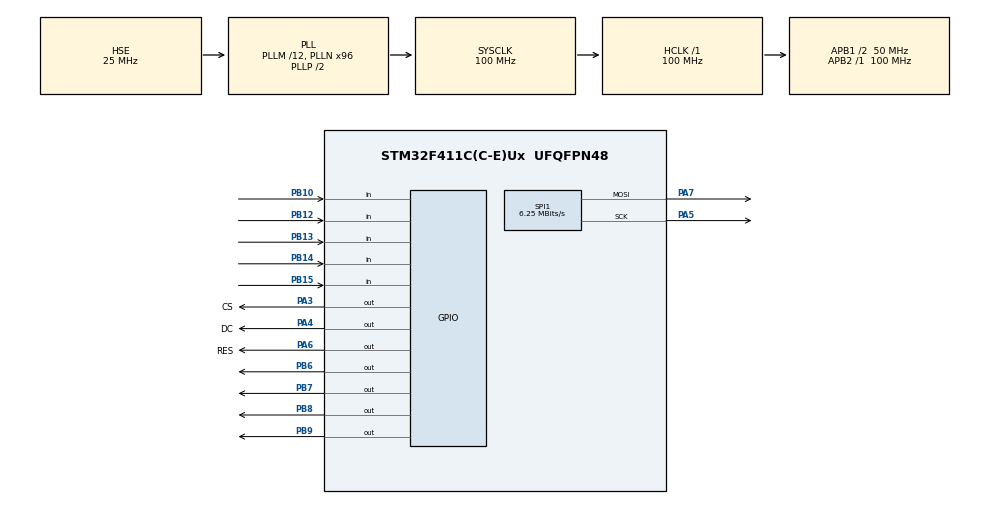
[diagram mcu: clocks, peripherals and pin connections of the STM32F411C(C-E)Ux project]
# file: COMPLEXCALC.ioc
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Mcu.Family=STM32F4
Mcu.Name=STM32F411C(C-E)Ux
Mcu.Package=UFQFPN48
NVIC.PriorityGroup=NVIC_PRIORITYGROUP_4
PA3.GPIO_Label=CS
PA3.GPIO_PuPd=GPIO_NOPULL
PA3.GPIO_Speed=GPIO_SPEED_FREQ_VERY_HIGH
PA3.Signal=GPIO_Output
PA4.GPIO_Label=DC
PA4.GPIO_PuPd=GPIO_NOPULL
PA4.GPIO_Speed=GPIO_SPEED_FREQ_VERY_HIGH
PA4.Signal=GPIO_Output
PA5.Mode=TX_Only_Simplex_Unidirect_Master
PA5.Signal=SPI1_SCK
PA6.GPIO_Label=RES
PA6.GPIO_Speed=GPIO_SPEED_FREQ_VERY_HIGH
PA6.Signal=GPIO_Output
PA7.Mode=TX_Only_Simplex_Unidirect_Master
PA7.Signal=SPI1_MOSI
PB10.GPIO_PuPd=GPIO_PULLUP
PB10.Signal=GPIO_Input
PB12.GPIO_PuPd=GPIO_PULLUP
PB12.Signal=GPIO_Input
PB13.GPIO_PuPd=GPIO_PULLUP
PB13.Signal=GPIO_Input
PB14.GPIO_PuPd=GPIO_PULLUP
PB14.Signal=GPIO_Input
PB15.GPIO_PuPd=GPIO_PULLUP
PB15.Signal=GPIO_Input
PB6.GPIO_Speed=GPIO_SPEED_FREQ_VERY_HIGH
PB6.Signal=GPIO_Output
PB7.GPIO_Speed=GPIO_SPEED_FREQ_VERY_HIGH
PB7.Signal=GPIO_Output
PB8.GPIO_Speed=GPIO_SPEED_FREQ_VERY_HIGH
PB8.Signal=GPIO_Output
PB9.GPIO_Speed=GPIO_SPEED_FREQ_VERY_HIGH
PB9.Signal=GPIO_Output
PH0\ -\ OSC_IN.Mode=HSE-External-Oscillator
PH0\ -\ OSC_IN.Signal=RCC_OSC_IN
PH1\ -\ OSC_OUT.Mode=HSE-External-Oscillator
PH1\ -\ OSC_OUT.Signal=RCC_OSC_OUT
ProjectManager.HeapSize=0x200
ProjectManager.StackSize=0x400
ProjectManager.TargetToolchain=STM32CubeIDE
RCC.48MHZClocksFreq_Value=50000000
RCC.AHBFreq_Value=100000000
RCC.APB1CLKDivider=RCC_HCLK_DIV2
RCC.APB1Freq_Value=50000000
RCC.APB1TimFreq_Value=100000000
RCC.APB2Freq_Value=100000000
RCC.APB2TimFreq_Value=100000000
RCC.CortexFreq_Value=100000000
RCC.HCLKFreq_Value=100000000
RCC.HSE_VALUE=25000000
RCC.HSI_VALUE=16000000
RCC.LSE_VALUE=32768
RCC.PLLM=12
RCC.PLLN=96
RCC.PLLSourceVirtual=RCC_PLLSOURCE_HSE
RCC.SYSCLKFreq_VALUE=100000000
RCC.SYSCLKSource=RCC_SYSCLKSOURCE_PLLCLK
RCC.VCOOutputFreq_Value=200000000
SPI1.BaudRatePrescaler=SPI_BAUDRATEPRESCALER_16
SPI1.CalculateBaudRate=6.25 MBits/s
SPI1.Direction=SPI_DIRECTION_2LINES
SPI1.Mode=SPI_MODE_MASTER
SPI1.VirtualType=VM_MASTER
board=custom

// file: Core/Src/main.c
/* USER CODE BEGIN Header */

/* USER CODE END Header */
#include "main.h"

/* USER CODE BEGIN Includes */
#include "stm32f4xx_hal.h"
#include <stdlib.h>
#include <string.h>
#include "TecMat4x4.h"
#include "st7735.h"
#include "COMPLEX_SYS.h"
#include "fonts.h"
/* USER CODE END Includes */

/* USER CODE BEGIN PD */
#define BUFFER_SIZE 16
/* USER CODE END PD */

SPI_HandleTypeDef hspi1;

/* USER CODE BEGIN PV */

uint8_t level = 0 ;
uint8_t index_Var = 0;
char buffer[BUFFER_SIZE];
uint8_t navigating = 0;
uint8_t matSize;
cplx A[N_MAX][N_MAX] = {0};
cplx b[N_MAX] = {0};
cplx x[N_MAX] = {0};
// Variables de control de pantalla
uint8_t needsRedraw = 1;
uint8_t editingReal = 1; // 1 = editando real, 0 = editando imaginario
uint8_t Polar_rectangular = 0; // 0 = rectangular, 1 = polar
double real = 0.0, imag = 0.0;
/* USER CODE END PV */

void SystemClock_Config(void);
static void MX_GPIO_Init(void);
static void MX_SPI1_Init(void);
/* USER CODE BEGIN PFP */
uint8_t readPad(char *);
void initTheme(void);
void toggleTheme(void);
/* USER CODE END PFP */

int main(void)
{

  /* MCU Configuration--------------------------------------------------------*/

  /* Reset of all peripherals, Initializes the Flash interface and the Systick. */
  HAL_Init();

  /* Configure the system clock */
  SystemClock_Config();

  /* Initialize all configured peripherals */
  MX_GPIO_Init();
  MX_SPI1_Init();
  /* USER CODE BEGIN 2 */
  ST7735_Init();
  initTheme();  // Initialize color theme
  char *keypress = NULL;
  	char *endptr;
  	uint8_t messageReady = 1;
  	// Matriz
  	uint8_t colMat = 0, rowMat = 0;
  	double real, imag = 0.0;
  	memset(buffer, 0, sizeof(buffer));
  /* USER CODE END 2 */

  /* Infinite loop */
  while (1)
  {

    /* USER CODE BEGIN 3 */

	switch (level){
    case 0:
        // Dibujar pantalla solo cuando sea necesario
        if(needsRedraw) {
            drawLevel0();
            needsRedraw = 0;
        }

        keypress = gotKey();
        messageReady = readPad(keypress);

        if(messageReady == 0){
            // Actualizar solo el buffer en pantalla

            break;
        }

        // Conversión a entero
        matSize = (uint8_t)strtol(buffer, &endptr, 10);

        if ((endptr == buffer) || (matSize == 0)) {
            level = 0;
            needsRedraw = 1;
        }

        else if(matSize > N_MAX){
            level = 0;
            needsRedraw = 1;
        }
        else if(matSize<2) matSize = 2;

        if(matSize >= 2 && matSize <= N_MAX) {
        	drawLevel0();

        	memset(buffer, 0, sizeof(buffer));
            index_Var = 0;
            colMat = 0;
            rowMat = 0;
            editingReal = 1;
            level = 1;
            needsRedraw = 1;
        }

        break;

    case 1:
        if(needsRedraw) {
            drawLevel1(colMat, rowMat);
            needsRedraw = 0;
        }

        keypress = gotKey();
        messageReady = readPad(keypress);

		// Si se presionó una tecla pero no es un mensaje completo
		if(messageReady == 2) {
			// Buffer cambió (se agregó/borró un dígito)
			needsRedraw = 1;
			break;
		}

		// Si no hay nada en el buffer, permitir navegación
        if(index_Var == 0 && navigating) {
            switch (*keypress){
                case 'W':
                    if(colMat > 0) colMat--;
                    needsRedraw = 1;
                    break;
                case 'B':
                    if(colMat < matSize - 1) colMat++;
                    needsRedraw = 1;
                    break;
                case 'L':
                    if(rowMat > 0) rowMat--;
                    needsRedraw = 1;
                    break;
                case 'R':
                    if(rowMat < matSize) rowMat++;
                    needsRedraw = 1;
                    break;
            }
            break;
        }

        // Si no hay mensaje (no se presionó un número o tecla especial) salir
        if(!(messageReady == 1))
            break;

        if(*keypress == '=') {
            // Manejo del  real
            if(editingReal) {
                // Termina ingreso de parte real, pasa a imaginario
                if(index_Var > 0) {
                    // Solo guardar si hay datos en el buffer
                    real = strtod(buffer, &endptr);
                    if(rowMat < matSize) A[colMat][rowMat].r = real;
                    else b[colMat].r = real;
                }
                memset(buffer, 0, sizeof(buffer));
                index_Var = 0;
                editingReal = 0;
                needsRedraw = 1;
            }
            // Manejo del imaginaria
            else {
                // Termina ingreso de parte imaginaria, guarda y avanza
                if(index_Var > 0) {
                    // Coordenadas polares
                    if(Polar_rectangular == 1){
                     // Extraer coordenadas polares
                        double imag_polar = strtod(buffer, &endptr);
                        if(rowMat < matSize) real = A[colMat][rowMat].r;
                        else real = b[colMat].r;

                        needsRedraw = 1;
                        // Conversion de polar a cartesiano
                        imag = real * sin((imag_polar * PI) / 180.0);
                        real = real * cos(imag_polar * PI / 180.0);
                        if(rowMat < matSize) A[colMat][rowMat].i = imag;
                        else b[colMat].i = imag;
                        if(rowMat < matSize) A[colMat][rowMat].r = real;
                        else b[colMat].r = real;

                    }
                        // Coordenadas cartesianas
                    else{
                        // Solo guardar si hay datos en el buffer
                        imag = strtod(buffer, &endptr);
                        if(rowMat < matSize) A[colMat][rowMat].i = imag;
                        else b[colMat].i = imag;
                        }
                    }
                // Reset y avanzar
                memset(buffer, 0, sizeof(buffer));
                index_Var = 0;
                editingReal = 1;
                Polar_rectangular = 0;
                real = 0.0;
                imag = 0.0;

                // Avanzar a siguiente celda (por COLUMNAS primero)
                rowMat++;
                if(rowMat > matSize) {
                    rowMat = 0;
                    colMat++;
                }
                // Si terminamos, ir a resolver
                if(colMat >= matSize) {
                    level = 2;
                }
                needsRedraw = 1;
            }
        }
        break;

    case 2:
        // Resolver el sistema
        int success = solve_complex_system(matSize, A, b, x);
        drawLevel2(success == 0);

        // Esperar tecla para volver
        messageReady = 0;
        while(!(messageReady)){
            keypress = gotKey();
            messageReady = readPad(keypress);
        }

        // // Reset para nuevo sistema - limpiar matrices
        // memset(A, 0, sizeof(A));
        // memset(b, 0, sizeof(b));
        // memset(x, 0, sizeof(x));
        level = 0;
         matSize = 0;
        colMat = 0;  // Reset matrix position
        rowMat = 0;  // Reset matrix position
        memset(buffer, 0, sizeof(buffer));
        index_Var = 0;
        editingReal = 1;
        needsRedraw = 1;
        break;

		}
  }
  /* USER CODE END 3 */
}

void SystemClock_Config(void)
{
  RCC_OscInitTypeDef RCC_OscInitStruct = {0};
  RCC_ClkInitTypeDef RCC_ClkInitStruct = {0};

  /** Configure the main internal regulator output voltage
  */
  __HAL_RCC_PWR_CLK_ENABLE();
  __HAL_PWR_VOLTAGESCALING_CONFIG(PWR_REGULATOR_VOLTAGE_SCALE1);

  /** Initializes the RCC Oscillators according to the specified parameters
  * in the RCC_OscInitTypeDef structure.
  */
  RCC_OscInitStruct.OscillatorType = RCC_OSCILLATORTYPE_HSE;
  RCC_OscInitStruct.HSEState = RCC_HSE_ON;
  RCC_OscInitStruct.PLL.PLLState = RCC_PLL_ON;
  RCC_OscInitStruct.PLL.PLLSource = RCC_PLLSOURCE_HSE;
  RCC_OscInitStruct.PLL.PLLM = 12;
  RCC_OscInitStruct.PLL.PLLN = 96;
  RCC_OscInitStruct.PLL.PLLP = RCC_PLLP_DIV2;
  RCC_OscInitStruct.PLL.PLLQ = 4;
  if (HAL_RCC_OscConfig(&RCC_OscInitStruct) != HAL_OK)
  {
    Error_Handler();
  }

  /** Initializes the CPU, AHB and APB buses clocks
  */
  RCC_ClkInitStruct.ClockType = RCC_CLOCKTYPE_HCLK|RCC_CLOCKTYPE_SYSCLK
                              |RCC_CLOCKTYPE_PCLK1|RCC_CLOCKTYPE_PCLK2;
  RCC_ClkInitStruct.SYSCLKSource = RCC_SYSCLKSOURCE_PLLCLK;
  RCC_ClkInitStruct.AHBCLKDivider = RCC_SYSCLK_DIV1;
  RCC_ClkInitStruct.APB1CLKDivider = RCC_HCLK_DIV2;
  RCC_ClkInitStruct.APB2CLKDivider = RCC_HCLK_DIV1;

  if (HAL_RCC_ClockConfig(&RCC_ClkInitStruct, FLASH_LATENCY_3) != HAL_OK)
  {
    Error_Handler();
  }
}

static void MX_SPI1_Init(void)
{

  /* SPI1 parameter configuration*/
  hspi1.Instance = SPI1;
  hspi1.Init.Mode = SPI_MODE_MASTER;
  hspi1.Init.Direction = SPI_DIRECTION_2LINES;
  hspi1.Init.DataSize = SPI_DATASIZE_8BIT;
  hspi1.Init.CLKPolarity = SPI_POLARITY_LOW;
  hspi1.Init.CLKPhase = SPI_PHASE_1EDGE;
  hspi1.Init.NSS = SPI_NSS_SOFT;
  hspi1.Init.BaudRatePrescaler = SPI_BAUDRATEPRESCALER_16;
  hspi1.Init.FirstBit = SPI_FIRSTBIT_MSB;
  hspi1.Init.TIMode = SPI_TIMODE_DISABLE;
  hspi1.Init.CRCCalculation = SPI_CRCCALCULATION_DISABLE;
  hspi1.Init.CRCPolynomial = 10;
  if (HAL_SPI_Init(&hspi1) != HAL_OK)
  {
    Error_Handler();
  }

}

static void MX_GPIO_Init(void)
{
  GPIO_InitTypeDef GPIO_InitStruct = {0};

  /* GPIO Ports Clock Enable */
  __HAL_RCC_GPIOH_CLK_ENABLE();
  __HAL_RCC_GPIOA_CLK_ENABLE();
  __HAL_RCC_GPIOB_CLK_ENABLE();

  /*Configure GPIO pin Output Level */
  HAL_GPIO_WritePin(GPIOA, CS_Pin|DC_Pin|RES_Pin, GPIO_PIN_RESET);

  /*Configure GPIO pin Output Level */
  HAL_GPIO_WritePin(GPIOB, GPIO_PIN_6|GPIO_PIN_7|GPIO_PIN_8|GPIO_PIN_9, GPIO_PIN_RESET);

  /*Configure GPIO pins : CS_Pin DC_Pin RES_Pin */
  GPIO_InitStruct.Pin = CS_Pin|DC_Pin|RES_Pin;
  GPIO_InitStruct.Mode = GPIO_MODE_OUTPUT_PP;
  GPIO_InitStruct.Pull = GPIO_NOPULL;
  GPIO_InitStruct.Speed = GPIO_SPEED_FREQ_VERY_HIGH;
  HAL_GPIO_Init(GPIOA, &GPIO_InitStruct);

  /*Configure GPIO pins : PB10 PB12 PB13 PB14
                           PB15 */
  GPIO_InitStruct.Pin = GPIO_PIN_10|GPIO_PIN_12|GPIO_PIN_13|GPIO_PIN_14
                          |GPIO_PIN_15;
  GPIO_InitStruct.Mode = GPIO_MODE_INPUT;
  GPIO_InitStruct.Pull = GPIO_PULLUP;
  HAL_GPIO_Init(GPIOB, &GPIO_InitStruct);

  /*Configure GPIO pins : PB6 PB7 PB8 PB9 */
  GPIO_InitStruct.Pin = GPIO_PIN_6|GPIO_PIN_7|GPIO_PIN_8|GPIO_PIN_9;
  GPIO_InitStruct.Mode = GPIO_MODE_OUTPUT_PP;
  GPIO_InitStruct.Pull = GPIO_NOPULL;
  GPIO_InitStruct.Speed = GPIO_SPEED_FREQ_VERY_HIGH;
  HAL_GPIO_Init(GPIOB, &GPIO_InitStruct);

}

/* USER CODE BEGIN 4 */

uint8_t readPad(char *keypress){

    if (!keypress) return 0;
    char key = *keypress;
    // Ignore special value
    if ((unsigned char)keypress == 0x27) return 0;

    // Handle control keys
    if (key == '=') {
        /*if (level < 2) level++;
        if (level == 2) level--;*/
        return 1;
    }
	if (*keypress == '-') {
    // Only allow '-' as the first character in the buffer
    if (index_Var == 0) {
        buffer[index_Var++] = '-';
        return 2;}
	else return 0; // Ignore if not at start
	}
    if (key == 'T') {
        if (level > 0) level--;
        memset(buffer, 0, sizeof(buffer));
        index_Var = 0;
        return 2;
    }
    if (key == 'D') {
        if (index_Var > 0) {
            index_Var--;
            buffer[index_Var] = 0;
        }
        return 2;
    }
    // Parte imaginaria
    if (key == 'I') {
        return 1;
    }
    // Parte real
    if (*keypress == 'O') {
    // Only allow '-' as the first character in the buffer

        Polar_rectangular = 1;
        return 2;
    }

    if (key == 'F') {
        navigating ^= 1;
        return 2;
    }
    if (key == 'S'){
        level = 2;
        return 2;
    }
    if (key == 'P') {
        toggleTheme();
        needsRedraw = 1;
        return 2;
    }

    // Handle numbers and dot
    if ((key >= '0' && key <= '9') || key == '.') {
        if (index_Var < BUFFER_SIZE) {
            buffer[index_Var++] = key;
        }
        return 2;
    }

    // Unknown key
    return 0;

}

/* USER CODE END 4 */

void Error_Handler(void)
{
  __disable_irq();
  while (1)
  {
  }
}
